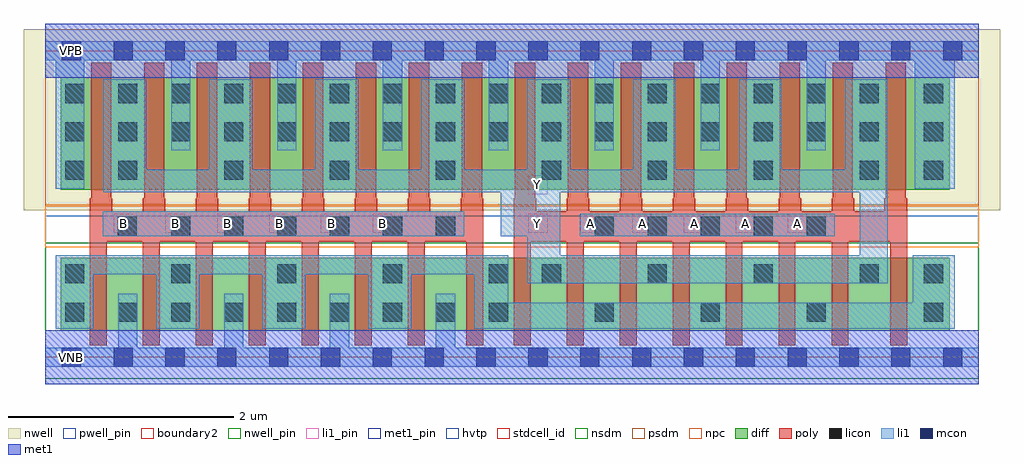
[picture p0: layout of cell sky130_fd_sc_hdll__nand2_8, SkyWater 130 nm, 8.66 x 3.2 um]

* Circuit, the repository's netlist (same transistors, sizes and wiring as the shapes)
* Copyright 2020 The SkyWater PDK Authors
*
* Licensed under the Apache License, Version 2.0 (the "License");
* you may not use this file except in compliance with the License.
* You may obtain a copy of the License at
*
*     https://www.apache.org/licenses/LICENSE-2.0
*
* Unless required by applicable law or agreed to in writing, software
* distributed under the License is distributed on an "AS IS" BASIS,
* WITHOUT WARRANTIES OR CONDITIONS OF ANY KIND, either express or implied.
* See the License for the specific language governing permissions and
* limitations under the License.
*
* SPDX-License-Identifier: Apache-2.0

.SUBCKT sky130_fd_sc_hdll__nand2_8 A B VGND VNB VPB VPWR Y
*.PININFO A:I B:I VGND:I VNB:I VPB:I VPWR:I Y:O
MMP0 Y A VPWR VPB sky130_fd_pr__pfet_01v8_hvt m=8 w=1.0U l=0.18U mult=1 sa=0.265
+ sb=0.265 sd=0.28 area=0.063 perim=1.14
MMP1 Y B VPWR VPB sky130_fd_pr__pfet_01v8_hvt m=8 w=1.0U l=0.18U mult=1 sa=0.265
+ sb=0.265 sd=0.28 area=0.063 perim=1.14
MMN0 Y A sndA VNB sky130_fd_pr__nfet_01v8 m=8 w=0.65U l=0.15U mult=1 sa=0.265 sb=0.265
+ sd=0.28 area=0.063 perim=1.14
MMN1 sndA B VGND VNB sky130_fd_pr__nfet_01v8 m=8 w=0.65U l=0.15U mult=1 sa=0.265
+ sb=0.265 sd=0.28 area=0.063 perim=1.14
.ENDS sky130_fd_sc_hdll__nand2_8

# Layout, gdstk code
import gdstk
lib = gdstk.Library(unit=1e-6, precision=1e-09)
def R(c, l, rs):  # rectangles x0, y0, x1, y1
    for r in rs: c.add(gdstk.rectangle(r[:2], r[2:], *l))
def A(c, l, x, y, w, h, nx, ny, dx, dy):  # array of equal rectangles
    R(c, l, [(x+i*dx, y+j*dy, x+i*dx+w, y+j*dy+h) for i in range(nx) for j in range(ny)])
def P(c, l, *ps):  # polygons
    for p in ps: c.add(gdstk.Polygon(p, *l))
nwell_pin = (64, 16)
nwell = (64, 20)
diff = (65, 20)
poly = (66, 20)
licon = (66, 44)
li1_pin = (67, 16)
li1 = (67, 20)
mcon = (67, 44)
met1_pin = (68, 16)
met1 = (68, 20)
hvtp = (78, 44)
stdcell_id = (81, 4)
nsdm = (93, 44)
psdm = (94, 20)
npc = (95, 20)
pwell_pin = (122, 16)
boundary2 = (236, 0)

sky130_fd_sc_hdll__nand2 = lib.new_cell('sky130_fd_sc_hdll__nand2_8')
R(sky130_fd_sc_hdll__nand2, nwell_pin, [(0.15,2.635,0.32,2.805)])
R(sky130_fd_sc_hdll__nand2, nwell, [(-0.19,1.305,8.47,2.91)])
R(sky130_fd_sc_hdll__nand2, diff, [(0.135,0.235,8.025,0.885), (0.135,1.485,8.025,2.485)])
P(sky130_fd_sc_hdll__nand2, poly, [(3.885,1.41),(3.875,1.41),(3.875,2.615),(3.695,2.615),(3.695,1.41),(3.685,1.41),(3.685,1.295),(3.415,1.295),(3.415,1.41),(3.405,1.41),(3.405,2.615),(3.225,2.615),(3.225,1.41),(3.215,1.41),(3.215,1.295),(2.945,1.295),(2.945,1.41),(2.935,1.41),(2.935,2.615),(2.755,2.615),(2.755,1.41),(2.745,1.41),(2.745,1.295),(2.475,1.295),(2.475,1.41),(2.465,1.41),(2.465,2.615),(2.285,2.615),(2.285,1.41),(2.275,1.41),(2.275,1.295),(2.005,1.295),(2.005,1.41),(1.995,1.41),(1.995,2.615),(1.815,2.615),(1.815,1.41),(1.805,1.41),(1.805,1.295),(1.535,1.295),(1.535,1.41),(1.525,1.41),(1.525,2.615),(1.345,2.615),(1.345,1.41),(1.335,1.41),(1.335,1.295),(1.065,1.295),(1.065,1.41),(1.055,1.41),(1.055,2.615),(0.875,2.615),(0.875,1.41),(0.865,1.41),(0.865,1.295),(0.595,1.295),(0.595,1.41),(0.585,1.41),(0.585,2.615),(0.405,2.615),(0.405,1.41),(0.395,1.41),(0.395,0.105),(0.545,0.105),(0.545,1.025),(0.865,1.025),(0.865,0.105),(1.015,0.105),(1.015,1.025),(1.335,1.025),(1.335,0.105),(1.485,0.105),(1.485,1.025),(1.805,1.025),(1.805,0.105),(1.955,0.105),(1.955,1.025),(2.275,1.025),(2.275,0.105),(2.425,0.105),(2.425,1.025),(2.745,1.025),(2.745,0.105),(2.895,0.105),(2.895,1.025),(3.215,1.025),(3.215,0.105),(3.365,0.105),(3.365,1.025),(3.735,1.025),(3.735,0.105),(3.885,0.105)],
  [(7.645,1.41),(7.635,1.41),(7.635,2.615),(7.455,2.615),(7.455,1.41),(7.445,1.41),(7.445,1.295),(7.175,1.295),(7.175,1.41),(7.165,1.41),(7.165,2.615),(6.985,2.615),(6.985,1.41),(6.975,1.41),(6.975,1.295),(6.705,1.295),(6.705,1.41),(6.695,1.41),(6.695,2.615),(6.515,2.615),(6.515,1.41),(6.505,1.41),(6.505,1.295),(6.235,1.295),(6.235,1.41),(6.225,1.41),(6.225,2.615),(6.045,2.615),(6.045,1.41),(6.035,1.41),(6.035,1.295),(5.765,1.295),(5.765,1.41),(5.755,1.41),(5.755,2.615),(5.575,2.615),(5.575,1.41),(5.565,1.41),(5.565,1.295),(5.295,1.295),(5.295,1.41),(5.285,1.41),(5.285,2.615),(5.105,2.615),(5.105,1.41),(5.095,1.41),(5.095,1.295),(4.825,1.295),(4.825,1.41),(4.815,1.41),(4.815,2.615),(4.635,2.615),(4.635,1.41),(4.625,1.41),(4.625,1.295),(4.355,1.295),(4.355,1.41),(4.345,1.41),(4.345,2.615),(4.165,2.615),(4.165,1.41),(4.155,1.41),(4.155,0.105),(4.305,0.105),(4.305,1.025),(4.625,1.025),(4.625,0.105),(4.775,0.105),(4.775,1.025),(5.095,1.025),(5.095,0.105),(5.245,0.105),(5.245,1.025),(5.565,1.025),(5.565,0.105),(5.715,0.105),(5.715,1.025),(6.035,1.025),(6.035,0.105),(6.185,0.105),(6.185,1.025),(6.505,1.025),(6.505,0.105),(6.655,0.105),(6.655,1.025),(6.975,1.025),(6.975,0.105),(7.125,0.105),(7.125,1.025),(7.495,1.025),(7.495,0.105),(7.645,0.105)])
A(sky130_fd_sc_hdll__nand2, licon, 0.175, 0.315, 0.17, 0.17, 9, 1, 0.47, 0)
A(sky130_fd_sc_hdll__nand2, licon, 4.875, 0.315, 0.17, 0.17, 3, 1, 0.94, 0)
A(sky130_fd_sc_hdll__nand2, licon, 0.175, 0.655, 0.17, 0.17, 5, 1, 0.94, 0)
A(sky130_fd_sc_hdll__nand2, licon, 4.405, 0.655, 0.17, 0.17, 4, 1, 0.94, 0)
A(sky130_fd_sc_hdll__nand2, licon, 1.115, 1.075, 0.17, 0.17, 6, 1, 0.47, 0)
A(sky130_fd_sc_hdll__nand2, licon, 4.875, 1.075, 0.17, 0.17, 5, 1, 0.47, 0)
A(sky130_fd_sc_hdll__nand2, licon, 0.645, 1.575, 0.17, 0.17, 8, 1, 0.94, 0)
A(sky130_fd_sc_hdll__nand2, licon, 7.795, 1.575, 0.17, 0.17, 1, 3, 0, 0.34)
A(sky130_fd_sc_hdll__nand2, licon, 0.175, 1.915, 0.17, 0.17, 16, 2, 0.47, 0.34)
R(sky130_fd_sc_hdll__nand2, licon, [(7.795,0.315,7.965,0.485), (7.795,0.655,7.965,0.825), (0.64,1.075,0.81,1.245), (0.175,1.575,0.345,1.745)])
A(sky130_fd_sc_hdll__nand2, li1_pin, 0.605, 1.105, 0.17, 0.17, 6, 1, 0.46, 0)
A(sky130_fd_sc_hdll__nand2, li1_pin, 4.285, 1.105, 0.17, 0.17, 6, 1, 0.46, 0)
R(sky130_fd_sc_hdll__nand2, li1_pin, [(4.285,1.445,4.455,1.615)])
R(sky130_fd_sc_hdll__nand2, li1, [(0.51,1.075,3.715,1.295), (4.74,1.075,7.005,1.275)])
P(sky130_fd_sc_hdll__nand2, li1, [(7.475,2.465),(7.225,2.465),(7.225,0.905),(4.57,0.905),(4.57,1.465),(7.225,1.465),(7.225,2.465),(7.095,2.465),(7.095,1.665),(6.535,1.665),(6.535,2.465),(6.155,2.465),(6.155,1.665),(5.595,1.665),(5.595,2.465),(5.215,2.465),(5.215,1.665),(4.655,1.665),(4.655,2.465),(4.275,2.465),(4.275,1.665),(3.715,1.665),(3.715,2.465),(3.335,2.465),(3.335,1.665),(2.775,1.665),(2.775,2.465),(2.395,2.465),(2.395,1.665),(1.835,1.665),(1.835,2.465),(1.455,2.465),(1.455,1.665),(0.895,1.665),(0.895,2.465),(0.515,2.465),(0.515,1.465),(4.04,1.465),(4.04,1.075),(4.275,1.075),(4.275,0.655),(7.475,0.655)],
  [(8.07,0.905),(7.695,0.905),(7.695,0.485),(4.105,0.485),(4.105,0.905),(0.09,0.905),(0.09,0.255),(0.425,0.255),(0.425,0.735),(0.985,0.735),(0.985,0.255),(1.365,0.255),(1.365,0.735),(1.925,0.735),(1.925,0.255),(2.305,0.255),(2.305,0.735),(2.865,0.735),(2.865,0.255),(3.245,0.255),(3.245,0.735),(3.805,0.735),(3.805,0.255),(8.07,0.255)],
  [(8.28,2.805),(0,2.805),(0,2.635),(0.09,2.635),(0.09,1.495),(0.345,1.495),(0.345,2.635),(1.115,2.635),(1.115,1.835),(1.285,1.835),(1.285,2.635),(2.055,2.635),(2.055,1.835),(2.225,1.835),(2.225,2.635),(2.995,2.635),(2.995,1.835),(3.165,1.835),(3.165,2.635),(3.935,2.635),(3.935,1.835),(4.105,1.835),(4.105,2.635),(4.875,2.635),(4.875,1.835),(5.045,1.835),(5.045,2.635),(5.815,2.635),(5.815,1.835),(5.985,1.835),(5.985,2.635),(6.755,2.635),(6.755,1.835),(6.925,1.835),(6.925,2.635),(7.715,2.635),(7.715,1.495),(8.07,1.495),(8.07,2.635),(8.28,2.635)],
  [(8.28,0.085),(3.635,0.085),(3.635,0.565),(3.465,0.565),(3.465,0.085),(2.695,0.085),(2.695,0.565),(2.525,0.565),(2.525,0.085),(1.755,0.085),(1.755,0.565),(1.585,0.565),(1.585,0.085),(0.815,0.085),(0.815,0.565),(0.645,0.565),(0.645,0.085),(0,0.085),(0,-0.085),(8.28,-0.085)])
A(sky130_fd_sc_hdll__nand2, mcon, 0.145, -0.085, 0.17, 0.17, 18, 2, 0.46, 2.72)
R(sky130_fd_sc_hdll__nand2, met1_pin, [(0.15,-0.085,0.32,0.085), (0.15,2.635,0.32,2.805)])
R(sky130_fd_sc_hdll__nand2, met1, [(0,-0.24,8.28,0.24), (0,2.48,8.28,2.96)])
R(sky130_fd_sc_hdll__nand2, hvtp, [(0,1.25,8.28,2.72)])
R(sky130_fd_sc_hdll__nand2, stdcell_id, [(0,0,8.28,2.72)])
R(sky130_fd_sc_hdll__nand2, nsdm, [(0,-0.19,8.28,1.015)])
R(sky130_fd_sc_hdll__nand2, psdm, [(0,1.355,8.28,2.91)])
R(sky130_fd_sc_hdll__nand2, npc, [(0,0.975,8.28,1.345)])
R(sky130_fd_sc_hdll__nand2, pwell_pin, [(0.15,-0.085,0.32,0.085)])
R(sky130_fd_sc_hdll__nand2, boundary2, [(0,0,8.28,2.72)])
sky130_fd_sc_hdll__nand2.add(gdstk.Label('A', (5.295,1.19), layer=67, texttype=5))
sky130_fd_sc_hdll__nand2.add(gdstk.Label('A', (4.835,1.19), layer=67, texttype=5))
sky130_fd_sc_hdll__nand2.add(gdstk.Label('A', (6.67,1.19), layer=67, texttype=5))
sky130_fd_sc_hdll__nand2.add(gdstk.Label('B', (2.995,1.19), layer=67, texttype=5))
sky130_fd_sc_hdll__nand2.add(gdstk.Label('B', (1.155,1.19), layer=67, texttype=5))
sky130_fd_sc_hdll__nand2.add(gdstk.Label('B', (0.695,1.19), layer=67, texttype=5))
sky130_fd_sc_hdll__nand2.add(gdstk.Label('Y', (4.37,1.53), layer=67, texttype=5))
sky130_fd_sc_hdll__nand2.add(gdstk.Label('Y', (4.37,1.19), layer=67, texttype=5))
sky130_fd_sc_hdll__nand2.add(gdstk.Label('A', (6.215,1.19), layer=67, texttype=5))
sky130_fd_sc_hdll__nand2.add(gdstk.Label('A', (5.755,1.19), layer=67, texttype=5))
sky130_fd_sc_hdll__nand2.add(gdstk.Label('B', (2.535,1.19), layer=67, texttype=5))
sky130_fd_sc_hdll__nand2.add(gdstk.Label('B', (2.075,1.19), layer=67, texttype=5))
sky130_fd_sc_hdll__nand2.add(gdstk.Label('B', (1.615,1.19), layer=67, texttype=5))
sky130_fd_sc_hdll__nand2.add(gdstk.Label('VNB', (0.235,0), layer=64, texttype=59))
sky130_fd_sc_hdll__nand2.add(gdstk.Label('VPB', (0.235,2.72), layer=64, texttype=5))
sky130_fd_sc_hdll__nand2.add(gdstk.Label('VGND', (0.235,0), layer=68, texttype=5))
sky130_fd_sc_hdll__nand2.add(gdstk.Label('VPWR', (0.235,2.72), layer=68, texttype=5))
sky130_fd_sc_hdll__nand2.add(gdstk.Label('nand2_8', (0,0), layer=83, texttype=44))

lib.write_gds('sky130_fd_sc_hdll__nand2_8.gds')
